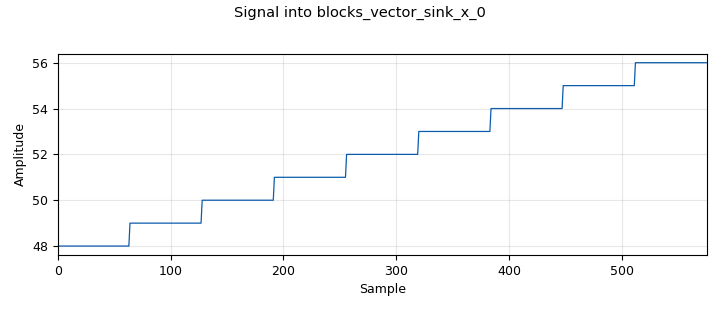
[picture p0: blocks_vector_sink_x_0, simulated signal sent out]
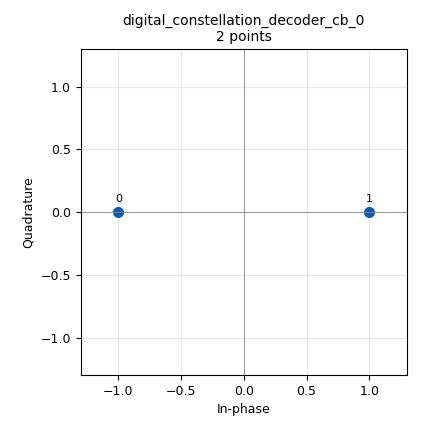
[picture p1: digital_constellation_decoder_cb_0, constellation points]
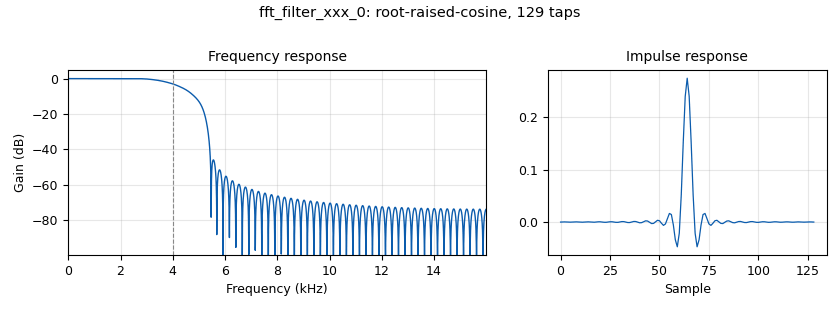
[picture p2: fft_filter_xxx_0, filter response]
options:
  parameters:
    author: mushab404
    description: 'PHY2 Stage 09: Complete Modular CDP BPSK Transceiver'
    generate_options: no_gui
    id: cdp_transceiver_bpsk
    output_language: python
    run_options: run
    title: 'PHY2 Test 09: CDP BPSK Transceiver'
  states: {}

blocks:
- name: hdr
  id: variable
  parameters:
    value: digital.header_format_default(digital.packet_utils.default_access_code, 0)
  states: {}
- name: payload_size
  id: variable
  parameters:
    value: '64'
  states: {}
- name: packets
  id: variable
  parameters:
    value: '10'
  states: {}
- name: preamble_size
  id: variable
  parameters:
    value: '32'
  states: {}
- name: alpha
  id: variable
  parameters:
    value: '0.35'
  states: {}
- name: sps
  id: variable
  parameters:
    value: '4'
  states: {}
- name: samp_rate
  id: variable
  parameters:
    value: '32000'
  states: {}
- name: nfilts
  id: variable
  parameters:
    value: '32'
  states: {}
- name: fll_loop_bw
  id: variable
  parameters:
    value: 2 * 3.14159265 * 0.005
  states: {}
- name: costas_bw
  id: variable
  parameters:
    value: '0.0628'
  states: {}
- name: sym_bw
  id: variable
  parameters:
    value: '0.045'
  states: {}
- name: noise_volt
  id: variable
  parameters:
    value: '0.0'
  states: {}
- name: frequency_offset
  id: variable
  parameters:
    value: '0.0'
  states: {}
- name: time_offset
  id: variable
  parameters:
    value: '1.0'
  states: {}
- name: rcc_taps
  id: variable_rrc_filter_taps
  parameters:
    alpha: alpha
    gain: '1.0'
    ntaps: nfilts*sps
    samp_rate: samp_rate
    sym_rate: samp_rate/sps
  states: {}
- name: BPSK_CONST
  id: variable_constellation_rect
  parameters:
    const_points: '[-1+0j, 1+0j]'
    imag_sect: '2'
    real_sect: '2'
    rot_sym: '2'
    sym_map: '[0, 1]'
    w_imag_sect: '1'
    w_real_sect: '1'
  states: {}
- name: adpt_alg
  id: variable_adaptive_algorithm
  parameters:
    cons: BPSK_CONST
    modulus: '1'
    step_size: '.0001'
    type: cma
  states: {}
- name: blocks_vector_source_x_0
  id: blocks_vector_source_x
  parameters:
    repeat: 'False'
    type: byte
    vector: '[p + 48 for p in range(packets) for _ in range(payload_size)]'
  states: {}
- name: blocks_stream_to_tagged_stream_0
  id: blocks_stream_to_tagged_stream
  parameters:
    len_tag_key: '"packet_len"'
    packet_len: payload_size
    type: byte
  states: {}
- name: digital_crc32_bb_0
  id: digital_crc32_bb
  parameters:
    check: 'False'
    length_tag_key: '"packet_len"'
    packed: 'True'
  states: {}
- name: digital_protocol_formatter_bb_0
  id: digital_protocol_formatter_bb
  parameters:
    format: hdr
    len_tag_key: '"packet_len"'
  states: {}
- name: blocks_vector_source_x_preamble
  id: blocks_vector_source_x
  parameters:
    repeat: 'False'
    type: byte
    vector: '[0x55] * preamble_size * packets'
  states: {}
- name: blocks_stream_to_tagged_stream_preamble
  id: blocks_stream_to_tagged_stream
  parameters:
    len_tag_key: '"packet_len"'
    packet_len: preamble_size
    type: byte
  states: {}
- name: blocks_tagged_stream_mux_0
  id: blocks_tagged_stream_mux
  parameters:
    lengthtagname: '"packet_len"'
    ninputs: '3'
    type: byte
  states: {}
- name: digital_constellation_modulator_0
  id: digital_constellation_modulator
  parameters:
    constellation: BPSK_CONST
    differential: 'True'
    excess_bw: alpha
    samples_per_symbol: sps
  states: {}
- name: channels_channel_model_0
  id: channels_channel_model
  parameters:
    epsilon: time_offset
    frequency_offset: frequency_offset
    noise_seed: '0'
    noise_voltage: noise_volt
    taps: '[1.0]'
  states: {}
- name: analog_agc_xx_0
  id: analog_agc_xx
  parameters:
    gain: '1.0'
    max_gain: '65536'
    rate: '1e-2'
    reference: '1.0'
    type: complex
  states: {}
- name: digital_fll_band_edge_cc_0
  id: digital_fll_band_edge_cc
  parameters:
    filter_size: 2*sps+1
    rolloff: alpha
    samps_per_sym: sps
    type: cc
    w: fll_loop_bw
  states: {}
- name: fft_filter_xxx_0
  id: fft_filter_xxx
  parameters:
    decim: '1'
    taps: rcc_taps
    type: ccc
  states: {}
- name: digital_symbol_sync_xx_0
  id: digital_symbol_sync_xx
  parameters:
    damping: '1.0'
    loop_bw: sym_bw
    max_dev: '1.5'
    osps: '1'
    resamp_type: digital.IR_MMSE_8TAP
    sps: sps
    ted_gain: '1.0'
    ted_type: digital.TED_MUELLER_AND_MULLER
    type: cc
  states: {}
- name: digital_costas_loop_cc_0
  id: digital_costas_loop_cc
  parameters:
    order: '2'
    w: costas_bw
  states: {}
- name: digital_constellation_decoder_cb_0
  id: digital_constellation_decoder_cb
  parameters:
    constellation: BPSK_CONST
  states: {}
- name: digital_diff_decoder_bb_0
  id: digital_diff_decoder_bb
  parameters:
    modulus: '2'
  states: {}
- name: digital_correlate_access_code_xx_ts_0
  id: digital_correlate_access_code_xx_ts
  parameters:
    access_code: digital.packet_utils.default_access_code
    tagname: '"packet_len"'
    threshold: '2'
    type: byte
  states: {}
- name: blocks_repack_bits_bb_0
  id: blocks_repack_bits_bb
  parameters:
    endianness: gr.GR_MSB_FIRST
    k: '1'
    l: '8'
    len_tag_key: '"packet_len"'
  states: {}
- name: digital_crc32_bb_1
  id: digital_crc32_bb
  parameters:
    check: 'True'
    length_tag_key: '"packet_len"'
    packed: 'True'
  states: {}
- name: blocks_vector_sink_x_0
  id: blocks_vector_sink_x
  parameters:
    type: byte
  states: {}

connections:
- [blocks_vector_source_x_0, '0', blocks_stream_to_tagged_stream_0, '0']
- [blocks_stream_to_tagged_stream_0, '0', digital_crc32_bb_0, '0']
- [digital_crc32_bb_0, '0', digital_protocol_formatter_bb_0, '0']
- [blocks_vector_source_x_preamble, '0', blocks_stream_to_tagged_stream_preamble, '0']
- [blocks_stream_to_tagged_stream_preamble, '0', blocks_tagged_stream_mux_0, '0']
- [digital_protocol_formatter_bb_0, '0', blocks_tagged_stream_mux_0, '1']
- [digital_crc32_bb_0, '0', blocks_tagged_stream_mux_0, '2']
- [blocks_tagged_stream_mux_0, '0', digital_constellation_modulator_0, '0']
- [digital_constellation_modulator_0, '0', channels_channel_model_0, '0']
- [channels_channel_model_0, '0', analog_agc_xx_0, '0']
- [analog_agc_xx_0, '0', digital_fll_band_edge_cc_0, '0']
- [digital_fll_band_edge_cc_0, '0', fft_filter_xxx_0, '0']
- [fft_filter_xxx_0, '0', digital_symbol_sync_xx_0, '0']
- [digital_symbol_sync_xx_0, '0', digital_costas_loop_cc_0, '0']
- [digital_costas_loop_cc_0, '0', digital_constellation_decoder_cb_0, '0']
- [digital_constellation_decoder_cb_0, '0', digital_diff_decoder_bb_0, '0']
- [digital_diff_decoder_bb_0, '0', digital_correlate_access_code_xx_ts_0, '0']
- [digital_correlate_access_code_xx_ts_0, '0', blocks_repack_bits_bb_0, '0']
- [blocks_repack_bits_bb_0, '0', digital_crc32_bb_1, '0']
- [digital_crc32_bb_1, '0', blocks_vector_sink_x_0, '0']

metadata:
  file_format: 1
  grc_version: 3.10.12.0
